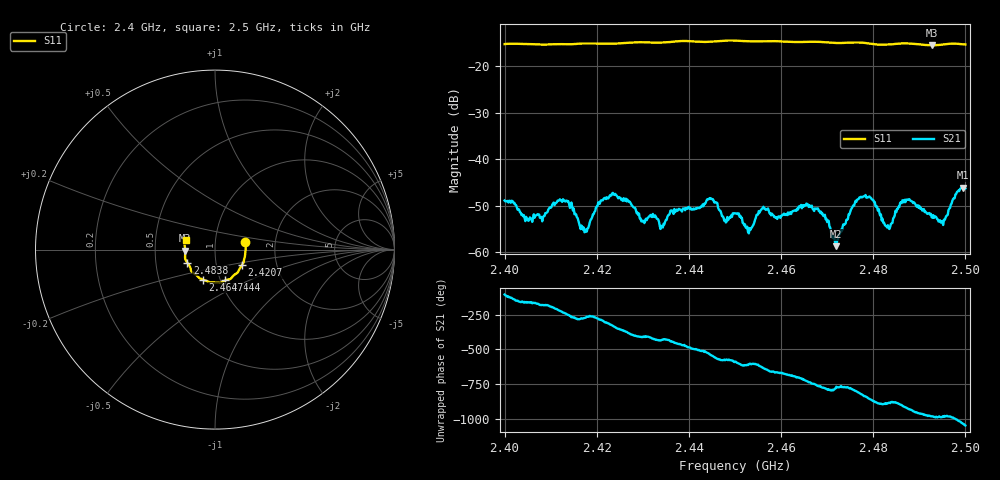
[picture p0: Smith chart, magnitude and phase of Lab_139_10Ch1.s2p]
# Hz S RI R 50
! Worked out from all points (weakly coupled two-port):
!   601 points, 2.4 GHz to 2.5 GHz, reference 50 ohm
!   highest |S21| = -46.11 dB at 2.4995 GHz (marker M1); lowest = -58.7 dB at 2.472 GHz (marker M2)
!   lowest |S11| = -15.6 dB at 2.4927 GHz (marker M3), VSWR 1.40, Z = 35.7 - j0.46 ohm
!   |S11| at or under -10 dB: start of sweep to end of sweep
!   S12 and S22 are empty: the file has one direction only
!   S11 on the Smith chart (normalised r, x): 2.4 GHz: 1.39, +0.12; 2.4207 GHz: 1.33, -0.24; 2.444 GHz: 1.05, -0.37; 2.4647 GHz: 0.83, -0.29; 2.4838 GHz: 0.73, -0.11; 2.5 GHz: 0.72, +0.08
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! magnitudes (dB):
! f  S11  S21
! 2.4 GHz  -15.3  -48.9
! 2.4055 GHz  -15.3  -52.5
! 2.4132 GHz  -15.3  -49.1
! 2.4167 GHz  -15.2  -54.2
! 2.4207 GHz  -15.2  -49.5
! 2.4238 GHz  -15.2  -47.7
! 2.4333 GHz  -15.0  -52.9
! 2.444 GHz  -14.8  -48.6
! 2.45 GHz  -14.6  -51.6
! 2.453 GHz  -14.7  -55.9
! 2.456 GHz  -14.7  -50.5
! 2.4647 GHz  -14.9  -49.9
! 2.4667 GHz  -14.8  -50.0
! 2.472 GHz  -15.1  -58.7
! 2.4778 GHz  -15.0  -48.0
! 2.4833 GHz  -15.4  -54.7
! 2.4838 GHz  -15.4  -53.9
! 2.4873 GHz  -15.2  -48.7
! 2.4927 GHz  -15.6  -52.4
! 2.4952 GHz  -15.4  -54.1
! 2.4995 GHz  -15.4  -46.1
! 2.5 GHz  -15.4  -46.3
